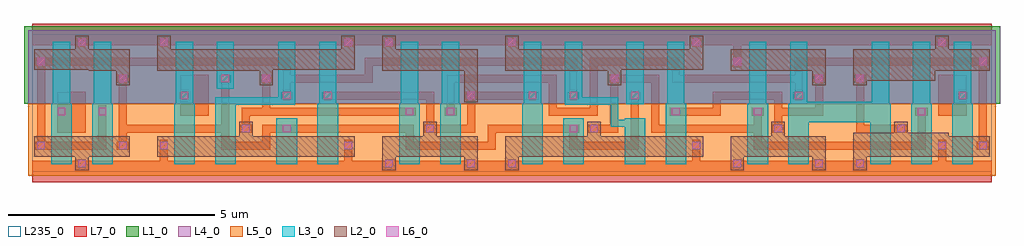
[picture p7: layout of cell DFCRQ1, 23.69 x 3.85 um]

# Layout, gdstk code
import gdstk
lib = gdstk.Library(unit=1e-6, precision=1e-09)
def R(c, l, rs):  # rectangles x0, y0, x1, y1
    for r in rs: c.add(gdstk.rectangle(r[:2], r[2:], *l))
def A(c, l, x, y, w, h, nx, ny, dx, dy):  # array of equal rectangles
    R(c, l, [(x+i*dx, y+j*dy, x+i*dx+w, y+j*dy+h) for i in range(nx) for j in range(ny)])
def P(c, l, *ps):  # polygons
    for p in ps: c.add(gdstk.Polygon(p, *l))
L1_0 = (1, 0)
L2_0 = (2, 0)
L3_0 = (3, 0)
L4_0 = (4, 0)
L5_0 = (5, 0)
L6_0 = (6, 0)
L7_0 = (7, 0)
L235_0 = (235, 0)

dfcrq1 = lib.new_cell('DFCRQ1')
R(dfcrq1, L1_0, [(-0.2,1.653,23.488,3.532)])
P(dfcrq1, L2_0, [(1.044,0.036),(1.044,0.363),(0.05,0.363),(0.05,0.863),(2.364,0.863),(2.364,0.363),(1.37,0.363),(1.37,0.036)],
  [(3.032,0.363),(3.032,0.863),(5.02,0.863),(5.02,1.209),(5.346,1.209),(5.346,0.863),(7.831,0.863),(7.831,0.363)],
  [(8.499,0.036),(8.499,0.863),(9.493,0.863),(9.493,1.209),(9.819,1.209),(9.819,0.863),(10.813,0.863),(10.813,0.036),(10.487,0.036),(10.487,0.363),(8.825,0.363),(8.825,0.036)],
  [(11.481,0.036),(11.481,0.863),(13.469,0.863),(13.469,1.209),(13.795,1.209),(13.795,0.863),(16.28,0.863),(16.28,0.363),(11.807,0.363),(11.807,0.036)],
  [(16.948,0.036),(16.948,0.863),(17.942,0.863),(17.942,1.209),(18.268,1.209),(18.268,0.863),(19.262,0.863),(19.262,0.036),(18.936,0.036),(18.936,0.363),(17.274,0.363),(17.274,0.036)],
  [(19.93,0.036),(19.93,0.943),(20.924,0.943),(20.924,1.209),(21.25,1.209),(21.25,0.943),(22.244,0.943),(22.244,0.863),(23.238,0.863),(23.238,0.363),(20.256,0.363),(20.256,0.036)],
  [(18.936,2.097),(18.936,2.449),(16.948,2.449),(16.948,2.969),(19.262,2.969),(19.262,2.097)],
  [(2.038,2.097),(2.038,2.449),(1.37,2.449),(1.37,2.469),(0.05,2.469),(0.05,2.969),(1.044,2.969),(1.044,3.296),(1.37,3.296),(1.37,2.969),(2.364,2.969),(2.364,2.097)],
  [(5.517,2.097),(5.517,2.449),(3.032,2.449),(3.032,3.296),(3.358,3.296),(3.358,2.969),(7.505,2.969),(7.505,3.296),(7.831,3.296),(7.831,2.469),(5.843,2.469),(5.843,2.097)],
  [(10.487,1.684),(10.487,2.449),(8.499,2.449),(8.499,3.296),(8.825,3.296),(8.825,2.969),(10.813,2.969),(10.813,1.684)],
  [(13.966,2.097),(13.966,2.449),(11.481,2.449),(11.481,3.296),(11.807,3.296),(11.807,2.969),(15.954,2.969),(15.954,3.296),(16.28,3.296),(16.28,2.469),(14.292,2.469),(14.292,2.097)],
  [(19.93,2.097),(19.93,2.969),(21.918,2.969),(21.918,3.296),(22.244,3.296),(22.244,2.969),(23.238,2.969),(23.238,2.449),(21.918,2.449),(21.918,2.209),(20.256,2.209),(20.256,2.097)])
R(dfcrq1, L3_0, [(5.927,0.177,6.427,1.296), (12.885,0.177,13.385,1.296), (14.416,1.637,14.836,3.155), (4.476,2.01,4.896,3.155)])
P(dfcrq1, L3_0, [(0.46,0.177),(0.46,1.653),(0.5,1.653),(0.5,3.155),(0.92,3.155),(0.92,1.653),(0.96,1.653),(0.96,0.177)],
  [(1.454,0.177),(1.454,1.653),(1.494,1.653),(1.494,3.155),(1.914,3.155),(1.914,1.653),(1.954,1.653),(1.954,0.177)],
  [(3.442,0.177),(3.442,1.653),(3.482,1.653),(3.482,3.155),(3.902,3.155),(3.902,1.653),(3.942,1.653),(3.942,0.177)],
  [(4.436,0.177),(4.436,1.809),(5.967,1.809),(5.967,3.155),(6.387,3.155),(6.387,1.629),(4.936,1.629),(4.936,0.177)],
  [(6.921,0.177),(6.921,1.653),(6.961,1.653),(6.961,3.155),(7.381,3.155),(7.381,1.653),(7.421,1.653),(7.421,0.177)],
  [(8.909,0.177),(8.909,1.653),(8.949,1.653),(8.949,3.155),(9.369,3.155),(9.369,1.653),(9.409,1.653),(9.409,0.177)],
  [(9.903,0.177),(9.903,1.653),(9.943,1.653),(9.943,3.155),(10.363,3.155),(10.363,1.653),(10.403,1.653),(10.403,0.177)],
  [(11.891,0.177),(11.891,1.653),(11.931,1.653),(11.931,3.155),(12.351,3.155),(12.351,1.653),(12.391,1.653),(12.391,0.177)],
  [(14.376,0.177),(14.376,1.084),(14.039,1.084),(14.039,1.629),(12.925,1.629),(12.925,3.155),(13.345,3.155),(13.345,1.809),(14.219,1.809),(14.219,1.264),(14.376,1.264),(14.376,1.296),(14.876,1.296),(14.876,0.177)],
  [(15.37,0.177),(15.37,1.653),(15.41,1.653),(15.41,3.155),(15.83,3.155),(15.83,1.653),(15.87,1.653),(15.87,0.177)],
  [(17.358,0.177),(17.358,1.653),(17.398,1.653),(17.398,3.155),(17.818,3.155),(17.818,1.653),(17.858,1.653),(17.858,0.177)],
  [(18.352,0.177),(18.352,1.653),(18.392,1.653),(18.392,3.155),(18.812,3.155),(18.812,1.696),(20.38,1.696),(20.38,3.155),(20.8,3.155),(20.8,1.653),(20.84,1.653),(20.84,0.177),(20.34,0.177),(20.34,1.196),(18.852,1.196),(18.852,0.177)],
  [(21.334,0.177),(21.334,1.653),(21.374,1.653),(21.374,3.155),(21.794,3.155),(21.794,1.653),(21.834,1.653),(21.834,0.177)],
  [(22.328,0.177),(22.328,1.653),(22.368,1.653),(22.368,3.155),(22.788,3.155),(22.788,1.653),(22.828,1.653),(22.828,0.177)])
R(dfcrq1, L4_0, [(-0.1,1.653,23.388,3.432)])
R(dfcrq1, L5_0, [(-0.1,-0.1,23.388,1.653)])
A(dfcrq1, L6_0, 6.084, 0.953, 0.186, 0.186, 3, 1, 3.479, 0)
A(dfcrq1, L6_0, 14.533, 1.754, 0.186, 0.186, 3, 1, 3.976, 0)
R(dfcrq1, L6_0, [(1.114,0.106,1.3,0.292), (8.569,0.106,8.755,0.292), (10.557,0.106,10.743,0.292), (11.551,0.106,11.737,0.292), (17.018,0.106,17.204,0.292), (19.006,0.106,19.192,0.292), (20,0.106,20.186,0.292), (0.12,0.54,0.306,0.726), (2.108,0.54,2.294,0.726), (3.102,0.54,3.288,0.726), (7.575,0.54,7.761,0.726), (16.024,0.54,16.21,0.726), (21.988,0.54,22.174,0.726), (22.982,0.54,23.168,0.726), (5.09,0.953,5.276,1.139), (13.539,0.953,13.725,1.139), (18.012,0.953,18.198,1.139), (20.994,0.953,21.18,1.139), (0.617,1.366,0.803,1.552), (1.611,1.366,1.797,1.552), (9.066,1.366,9.252,1.552), (10.06,1.366,10.246,1.552), (15.527,1.366,15.713,1.552), (17.515,1.366,17.701,1.552), (21.491,1.366,21.677,1.552), (3.599,1.754,3.785,1.94), (6.084,1.754,6.27,1.94), (7.078,1.754,7.264,1.94), (10.557,1.754,10.743,1.94), (12.048,1.754,12.234,1.94), (13.042,1.754,13.228,1.94), (2.108,2.167,2.294,2.353), (4.593,2.167,4.779,2.353), (5.587,2.167,5.773,2.353), (14.036,2.167,14.222,2.353), (19.006,2.167,19.192,2.353), (20,2.167,20.186,2.353), (0.12,2.58,0.306,2.766), (17.018,2.58,17.204,2.766), (22.982,2.58,23.168,2.766), (1.114,3.04,1.3,3.226), (3.102,3.04,3.288,3.226), (7.575,3.04,7.761,3.226), (8.569,3.04,8.755,3.226), (11.551,3.04,11.737,3.226), (16.024,3.04,16.21,3.226), (21.988,3.04,22.174,3.226)])
R(dfcrq1, L7_0, [(0.613,0.949,1.304,1.944), (3.595,1.362,4.286,2.357), (21.984,1.362,22.675,2.357)])
P(dfcrq1, L7_0, [(0,-0.26),(0,0.26),(1.11,0.26),(1.11,0.296),(1.304,0.296),(1.304,0.26),(3.098,0.26),(3.098,0.776),(3.292,0.776),(3.292,0.26),(7.571,0.26),(7.571,0.776),(7.765,0.776),(7.765,0.26),(8.565,0.26),(8.565,0.296),(8.759,0.296),(8.759,0.26),(10.553,0.26),(10.553,0.296),(10.747,0.296),(10.747,0.26),(11.547,0.26),(11.547,0.296),(11.741,0.296),(11.741,0.26),(16.02,0.26),(16.02,0.776),(16.214,0.776),(16.214,0.26),(17.014,0.26),(17.014,0.296),(17.208,0.296),(17.208,0.26),(19.002,0.26),(19.002,0.296),(19.196,0.296),(19.196,0.26),(19.996,0.26),(19.996,0.296),(20.19,0.296),(20.19,0.26),(21.984,0.26),(21.984,0.776),(22.178,0.776),(22.178,0.26),(23.288,0.26),(23.288,-0.26)],
  [(9.509,0.949),(9.509,1.143),(9.559,1.143),(9.559,1.75),(7.024,1.75),(7.024,1.944),(9.753,1.944),(9.753,1.143),(10.553,1.143),(10.553,1.75),(10.503,1.75),(10.503,1.944),(12.288,1.944),(12.288,1.75),(10.747,1.75),(10.747,0.949)],
  [(2.054,0.536),(2.054,0.73),(2.104,0.73),(2.104,2.163),(2.054,2.163),(2.054,2.357),(2.348,2.357),(2.348,2.163),(2.298,2.163),(2.298,1.143),(4.589,1.143),(4.589,2.163),(4.539,2.163),(4.539,2.357),(4.833,2.357),(4.833,2.163),(4.783,2.163),(4.783,0.73),(5.583,0.73),(5.583,1.143),(9.256,1.143),(9.256,0.73),(11.05,0.73),(11.05,1.143),(13.282,1.143),(13.282,0.949),(13.232,0.949),(13.232,0.73),(14.529,0.73),(14.529,1.75),(14.479,1.75),(14.479,1.944),(14.773,1.944),(14.773,1.75),(14.723,1.75),(14.723,0.536),(13.038,0.536),(13.038,0.949),(11.244,0.949),(11.244,0.536),(9.062,0.536),(9.062,0.949),(5.777,0.949),(5.777,0.536),(4.589,0.536),(4.589,0.949),(2.298,0.949),(2.298,0.73),(2.348,0.73),(2.348,0.536)],
  [(5.036,0.949),(5.036,1.143),(5.086,1.143),(5.086,1.556),(5.583,1.556),(5.583,2.163),(5.533,2.163),(5.533,2.357),(5.827,2.357),(5.827,2.163),(5.777,2.163),(5.777,1.556),(9.306,1.556),(9.306,1.362),(5.28,1.362),(5.28,1.143),(5.33,1.143),(5.33,0.949)],
  [(17.511,0.536),(17.511,0.949),(15.026,0.949),(15.026,2.163),(14.226,2.163),(14.226,0.949),(13.485,0.949),(13.485,1.143),(14.032,1.143),(14.032,2.163),(13.982,2.163),(13.982,2.357),(15.22,2.357),(15.22,1.143),(17.511,1.143),(17.511,1.362),(17.461,1.362),(17.461,1.556),(17.755,1.556),(17.755,1.362),(17.705,1.362),(17.705,0.73),(21.487,0.73),(21.487,1.362),(21.437,1.362),(21.437,1.556),(21.731,1.556),(21.731,1.362),(21.681,1.362),(21.681,0.536)],
  [(17.958,0.949),(17.958,1.143),(18.008,1.143),(18.008,1.75),(16.711,1.75),(16.711,1.362),(15.473,1.362),(15.473,1.556),(16.517,1.556),(16.517,1.944),(18.202,1.944),(18.202,1.556),(19.002,1.556),(19.002,2.163),(18.952,2.163),(18.952,2.357),(19.246,2.357),(19.246,2.163),(19.196,2.163),(19.196,1.362),(18.202,1.362),(18.202,1.143),(18.252,1.143),(18.252,0.949)],
  [(19.996,0.949),(19.996,2.163),(19.946,2.163),(19.946,2.357),(20.24,2.357),(20.24,2.163),(20.19,2.163),(20.19,1.143),(21.234,1.143),(21.234,0.949)],
  [(0.066,0.536),(0.066,0.73),(0.116,0.73),(0.116,2.576),(0.066,2.576),(0.066,2.77),(6.274,2.77),(6.274,2.357),(8.068,2.357),(8.068,2.77),(13.232,2.77),(13.232,1.944),(13.282,1.944),(13.282,1.75),(12.988,1.75),(12.988,1.944),(13.038,1.944),(13.038,2.576),(8.262,2.576),(8.262,2.163),(6.274,2.163),(6.274,1.944),(6.324,1.944),(6.324,1.75),(6.03,1.75),(6.03,1.944),(6.08,1.944),(6.08,2.576),(0.31,2.576),(0.31,0.73),(1.607,0.73),(1.607,1.606),(1.801,1.606),(1.801,0.536)],
  [(22.928,0.536),(22.928,0.73),(22.978,0.73),(22.978,2.576),(18.699,2.576),(18.699,1.944),(18.749,1.944),(18.749,1.75),(18.455,1.75),(18.455,1.944),(18.505,1.944),(18.505,2.163),(15.523,2.163),(15.523,2.576),(13.729,2.576),(13.729,1.362),(12.541,1.362),(12.541,2.163),(10.25,2.163),(10.25,1.556),(10.3,1.556),(10.3,1.362),(10.006,1.362),(10.006,1.556),(10.056,1.556),(10.056,2.357),(12.735,2.357),(12.735,1.556),(13.535,1.556),(13.535,2.77),(15.717,2.77),(15.717,2.357),(18.505,2.357),(18.505,2.77),(23.222,2.77),(23.222,2.576),(23.172,2.576),(23.172,0.73),(23.222,0.73),(23.222,0.536)],
  [(17.014,2.53),(17.014,3.072),(16.214,3.072),(16.214,3.036),(16.02,3.036),(16.02,3.072),(11.741,3.072),(11.741,3.036),(11.547,3.036),(11.547,3.072),(8.759,3.072),(8.759,3.036),(8.565,3.036),(8.565,3.072),(7.765,3.072),(7.765,3.036),(7.571,3.036),(7.571,3.072),(3.292,3.072),(3.292,3.036),(3.098,3.036),(3.098,3.072),(1.304,3.072),(1.304,3.036),(1.11,3.036),(1.11,3.072),(0,3.072),(0,3.592),(23.288,3.592),(23.288,3.072),(22.178,3.072),(22.178,3.036),(21.984,3.036),(21.984,3.072),(17.208,3.072),(17.208,2.53)])
R(dfcrq1, L235_0, [(0,0,23.288,3.332)])

lib.write_gds('DFCRQ1.gds')
